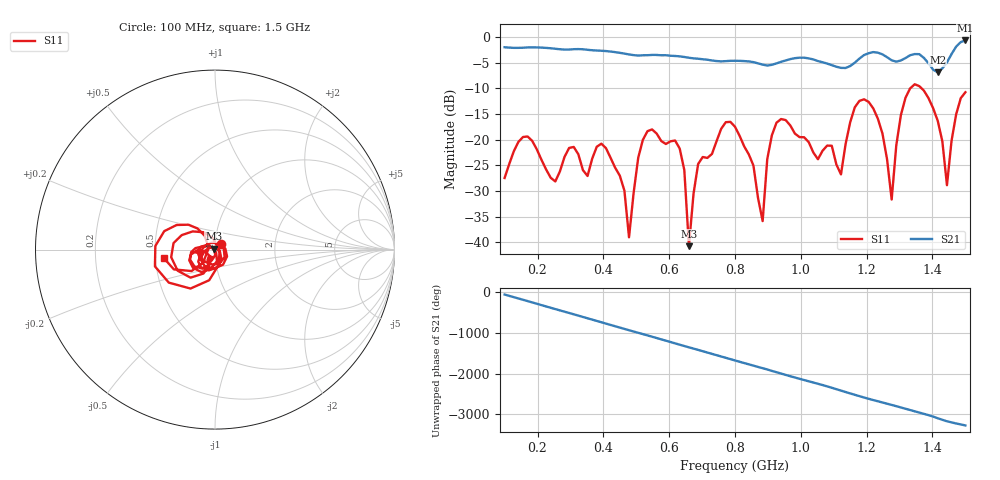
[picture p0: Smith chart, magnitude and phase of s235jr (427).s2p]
! NanoVNA-App
! Date: 2025-09-25 15:07:29
! Start: 100MHz Stop: 1,5GHz Points: 101
! S-Parameter data: F S11 S21 S12 S22
# Hz S RI R 50
!  Frequency  S11_Real  S11_Imag  S21_Real  S21_Imag  S12_Real  S12_Imag  S22_Real  S22_Imag
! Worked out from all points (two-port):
!   101 points, 100 MHz to 1.5 GHz, reference 50 ohm
!   highest |S21| = -0.64 dB at 1.5 GHz (marker M1); lowest = -6.9 dB at 1.416 GHz (marker M2)
!   |S21| within 3 dB of the highest: start of sweep to 609.6 MHz; 1.189 GHz to 1.255 GHz (66.29 MHz wide, 5.42 % of centre) (the widest 2 of 4)
!   lowest |S11| = -40.8 dB at 660 MHz (marker M3), VSWR 1.02, Z = 49.3 + j0.575 ohm
!   |S11| at or under -10 dB: start of sweep to 1.332 GHz; 1.367 GHz to end of sweep
!   S12 and S22 are empty: the file has one direction only
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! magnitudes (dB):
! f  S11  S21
! 100 MHz  -27.5  -2.0
! 170 MHz  -19.4  -2.0
! 338 MHz  -25.9  -2.4
! 408 MHz  -21.7  -2.7
! 478 MHz  -39.0  -3.4
! 520 MHz  -20.0  -3.5
! 576 MHz  -20.3  -3.5
! 632 MHz  -21.7  -3.7
! 660 MHz  -40.8  -4.0
! 688 MHz  -24.7  -4.2
! 800 MHz  -17.5  -4.6
! 884 MHz  -35.9  -5.4
! 926 MHz  -16.7  -5.1
! 1.038 GHz  -22.5  -4.3
! 1.122 GHz  -26.8  -6.0
! 1.164 GHz  -13.7  -5.0
! 1.206 GHz  -12.6  -3.1
! 1.276 GHz  -31.7  -4.5
! 1.332 GHz  -10.0  -3.5
! 1.416 GHz  -16.3  -6.9
! 1.444 GHz  -28.9  -4.9
! 1.5 GHz  -10.7  -0.6
